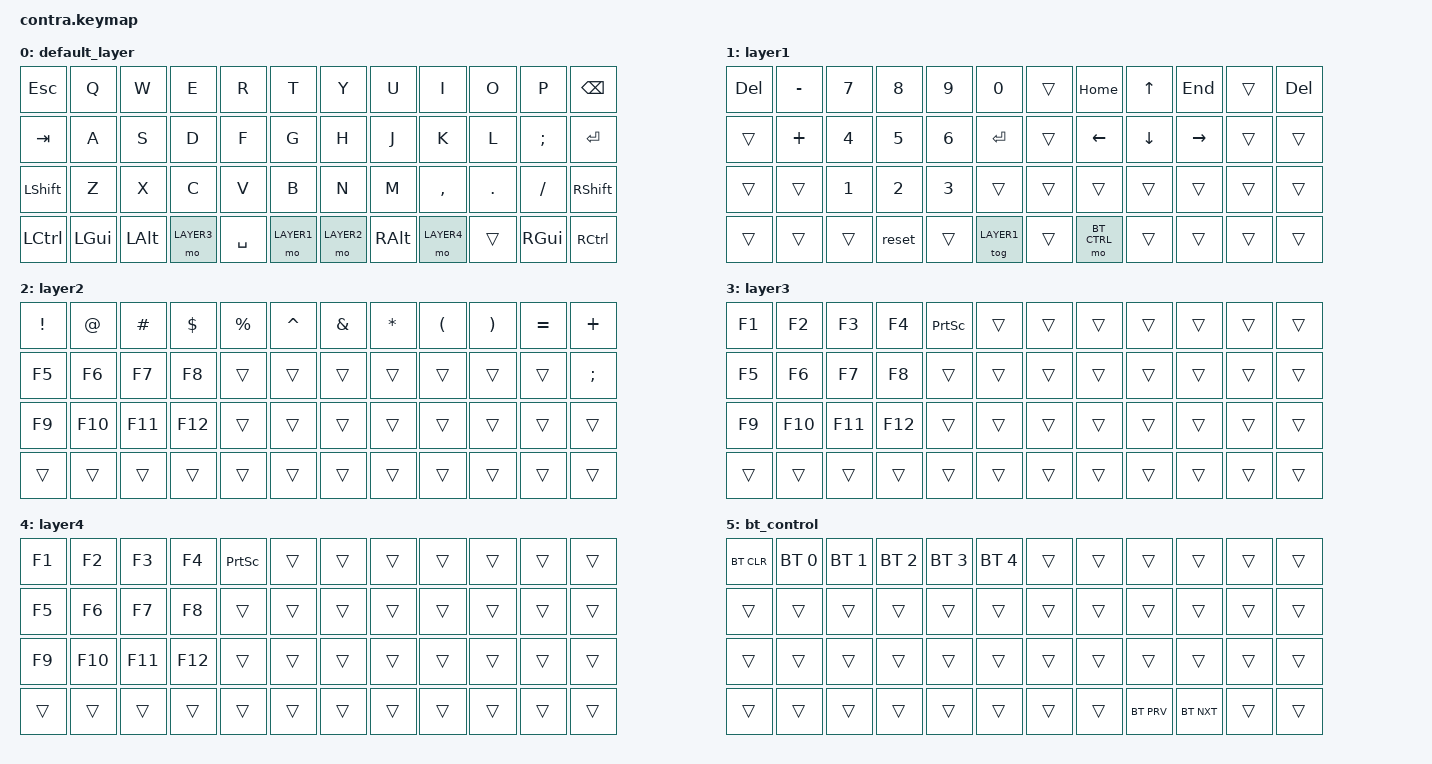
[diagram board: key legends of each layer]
#include <behaviors.dtsi>
#include <dt-bindings/zmk/keys.h>
#include <dt-bindings/zmk/bt.h>

#define DEFAULT  0
#define LAYER1 1
#define LAYER2 2
#define LAYER3 3
#define LAYER4 4
#define BT_CTRL 5

/ {
    keymap {
        compatible = "zmk,keymap";

        default_layer {
            bindings = <
    		&kp ESC      &kp Q        &kp W        &kp E        &kp R        &kp T               &kp Y        &kp U        &kp I        &kp O        &kp P        &kp BSPC
    		&kp TAB      &kp A        &kp S        &kp D        &kp F        &kp G               &kp H        &kp J        &kp K        &kp L        &kp SEMI     &kp ENTER
    		&kp LSHFT    &kp Z        &kp X        &kp C        &kp V        &kp B               &kp N        &kp M        &kp COMMA    &kp DOT      &kp FSLH     &kp RSHFT
    		&kp LCTRL    &kp LGUI     &kp LALT     &mo LAYER3   &kp SPACE    &mo LAYER1          &mo LAYER2   &kp RALT     &mo LAYER4   &trans       &kp RGUI     &kp RCTRL
            >;
        };

        layer1 {
            bindings = <
    		&kp DEL      &kp MINUS    &kp N7       &kp N8       &kp N9       &kp N0              &trans       &kp HOME     &kp UP       &kp END      &trans       &kp DEL
    		&trans       &kp PLUS     &kp N4       &kp N5       &kp N6       &kp ENTER           &trans       &kp LEFT     &kp DOWN     &kp RIGHT    &trans       &trans
   	        &trans       &trans       &kp N1       &kp N2       &kp N3       &trans              &trans       &trans       &trans       &trans       &trans       &trans
   	        &trans       &trans       &trans       &reset       &trans       &tog LAYER1         &trans       &mo BT_CTRL  &trans       &trans       &trans       &trans
            >;
        };
        
        layer2 {
            bindings = <
                &kp EXCL     &kp AT       &kp HASH     &kp DLLR     &kp PRCNT    &kp CARET           &kp AMPS     &kp STAR     &kp LPAR     &kp RPAR     &kp EQUAL    &kp PLUS
                &kp F5       &kp F6       &kp F7       &kp F8       &trans       &trans              &trans       &trans       &trans       &trans       &trans       &kp SEMI
                &kp F9       &kp F10      &kp F11      &kp F12      &trans       &trans              &trans       &trans       &trans       &trans       &trans       &trans
                &trans       &trans       &trans       &trans       &trans       &trans              &trans       &trans       &trans       &trans       &trans       &trans
            >;
        };        

        layer3 {
            bindings = <
                &kp F1       &kp F2       &kp F3       &kp F4       &kp PSCRN    &trans              &trans       &trans       &trans       &trans       &trans       &trans
                &kp F5       &kp F6       &kp F7       &kp F8       &trans       &trans              &trans       &trans       &trans       &trans       &trans       &trans
                &kp F9       &kp F10      &kp F11      &kp F12      &trans       &trans              &trans       &trans       &trans       &trans       &trans       &trans
                &trans       &trans       &trans       &trans       &trans       &trans              &trans       &trans       &trans       &trans       &trans       &trans
            >;
        };     
   
        layer4 {
            bindings = <
                &kp F1       &kp F2       &kp F3       &kp F4       &kp PSCRN    &trans              &trans       &trans       &trans       &trans       &trans       &trans
                &kp F5       &kp F6       &kp F7       &kp F8       &trans       &trans              &trans       &trans       &trans       &trans       &trans       &trans
                &kp F9       &kp F10      &kp F11      &kp F12      &trans       &trans              &trans       &trans       &trans       &trans       &trans       &trans
                &trans       &trans       &trans       &trans       &trans       &trans              &trans       &trans       &trans       &trans       &trans       &trans
            >;
        };  

        bt_control {
            bindings = <
                &bt BT_CLR   &bt BT_SEL 0 &bt BT_SEL 1 &bt BT_SEL 2 &bt BT_SEL 3 &bt BT_SEL 4        &trans       &trans       &trans       &trans       &trans       &trans
                &trans       &trans       &trans       &trans       &trans       &trans              &trans       &trans       &trans       &trans       &trans       &trans
                &trans       &trans       &trans       &trans       &trans       &trans              &trans       &trans       &trans       &trans       &trans       &trans
                &trans       &trans       &trans       &trans       &trans       &trans              &trans       &trans       &bt BT_PRV   &bt BT_NXT   &trans       &trans
            >;
        };
    };
};
